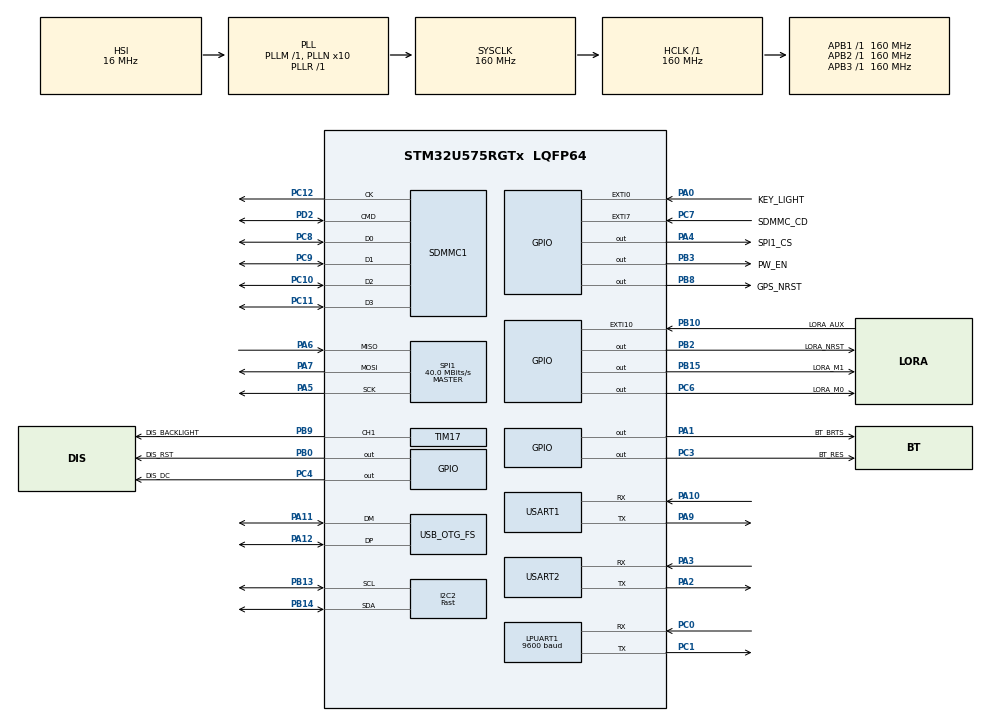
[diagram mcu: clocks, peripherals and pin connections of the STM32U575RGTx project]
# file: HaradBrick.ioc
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CORTEX_M33_NS.userName=CORTEX_M33
GPDMA1.DESTINC_GPDMACH0=DMA_DINC_INCREMENTED
GPDMA1.DIRECTION_GPDMACH1=DMA_MEMORY_TO_PERIPH
GPDMA1.DIRECTION_GPDMACH2=DMA_MEMORY_TO_PERIPH
GPDMA1.IPHANDLE_GPDMACH0-SIMPLEREQUEST_GPDMACH0=__NULL
GPDMA1.IPHANDLE_GPDMACH1-SIMPLEREQUEST_GPDMACH1=__NULL
GPDMA1.IPHANDLE_GPDMACH2-SIMPLEREQUEST_GPDMACH2=__NULL
GPDMA1.REQUEST_GPDMACH0=GPDMA1_REQUEST_USART2_RX
GPDMA1.REQUEST_GPDMACH1=GPDMA1_REQUEST_USART2_TX
GPDMA1.REQUEST_GPDMACH2=GPDMA1_REQUEST_SPI1_TX
GPDMA1.SRCINC_GPDMACH1=DMA_SINC_INCREMENTED
GPDMA1.SRCINC_GPDMACH2=DMA_SINC_INCREMENTED
I2C2.I2C_Speed_Mode=I2C_Fast
I2C2.Timing=0x00F07BFF
LPUART1.BaudRate=9600
Mcu.Family=STM32U5
Mcu.Name=STM32U575RGTx
Mcu.Package=LQFP64
NVIC.EXTI0_IRQn=true\:5\:0\:true\:false\:true\:true\:true\:true
NVIC.EXTI10_IRQn=true\:5\:0\:true\:false\:true\:true\:true\:true
NVIC.EXTI7_IRQn=true\:10\:0\:true\:false\:true\:true\:true\:true
NVIC.GPDMA1_Channel0_IRQn=true\:0\:0\:false\:false\:true\:true\:true\:true
NVIC.GPDMA1_Channel1_IRQn=true\:0\:0\:false\:false\:true\:false\:true\:true
NVIC.GPDMA1_Channel2_IRQn=true\:10\:0\:true\:false\:true\:false\:true\:true
NVIC.LPUART1_IRQn=true\:5\:0\:true\:false\:true\:true\:true\:true
NVIC.OTG_FS_IRQn=true\:5\:0\:true\:false\:true\:true\:true\:true
NVIC.PriorityGroup=NVIC_PRIORITYGROUP_4
NVIC.SDMMC1_IRQn=true\:6\:0\:true\:false\:true\:true\:true\:true
NVIC.SPI1_IRQn=true\:10\:0\:true\:false\:true\:false\:true\:true
NVIC.TIM6_IRQn=true\:15\:0\:false\:false\:true\:false\:true\:true
NVIC.TimeBase=TIM6_IRQn
NVIC.TimeBaseIP=TIM6
NVIC.USART1_IRQn=true\:10\:0\:true\:false\:true\:true\:true\:true
NVIC.USART2_IRQn=true\:10\:0\:true\:false\:true\:true\:true\:true
PA0.GPIO_Label=KEY_LIGHT
PA0.GPIO_PuPd=GPIO_PULLDOWN
PA0.Signal=GPXTI0
PA1.GPIO_Label=BT_BRTS
PA1.Signal=GPIO_Output
PA10.Mode=Asynchronous
PA10.Signal=USART1_RX
PA11.Mode=Device_Only
PA11.Signal=USB_OTG_FS_DM
PA12.Mode=Device_Only
PA12.Signal=USB_OTG_FS_DP
PA13\ (JTMS/SWDIO).Mode=Serial_Wire
PA13\ (JTMS/SWDIO).Signal=DEBUG_JTMS-SWDIO
PA14\ (JTCK/SWCLK).Mode=Serial_Wire
PA14\ (JTCK/SWCLK).Signal=DEBUG_JTCK-SWCLK
PA2.Mode=Asynchronous
PA2.Signal=USART2_TX
PA3.Mode=Asynchronous
PA3.Signal=USART2_RX
PA4.GPIO_Label=SPI1_CS
PA4.GPIO_Speed=GPIO_SPEED_FREQ_HIGH
PA4.PinState=GPIO_PIN_SET
PA4.Signal=GPIO_Output
PA5.GPIO_Speed=GPIO_SPEED_FREQ_HIGH
PA5.Mode=Full_Duplex_Master
PA5.Signal=SPI1_SCK
PA6.GPIO_Speed=GPIO_SPEED_FREQ_HIGH
PA6.Mode=Full_Duplex_Master
PA6.Signal=SPI1_MISO
PA7.GPIO_Speed=GPIO_SPEED_FREQ_HIGH
PA7.Mode=Full_Duplex_Master
PA7.Signal=SPI1_MOSI
PA9.Mode=Asynchronous
PA9.Signal=USART1_TX
PB0.GPIO_Label=DIS_RST
PB0.Signal=GPIO_Output
PB10.GPIO_Label=LORA_AUX
PB10.GPIO_ModeDefaultEXTI=GPIO_MODE_IT_RISING_FALLING
PB10.Signal=GPXTI10
PB13.Mode=I2C
PB13.Signal=I2C2_SCL
PB14.Mode=I2C
PB14.Signal=I2C2_SDA
PB15.GPIO_Label=LORA_M1
PB15.Signal=GPIO_Output
PB2.GPIO_Label=LORA_NRST
PB2.Signal=GPIO_Output
PB3\ (JTDO/TRACESWO).GPIO_Label=PW_EN
PB3\ (JTDO/TRACESWO).GPIO_PuPd=GPIO_PULLUP
PB3\ (JTDO/TRACESWO).Signal=GPIO_Output
PB8.GPIO_Label=GPS_NRST
PB8.GPIO_PuPd=GPIO_PULLUP
PB8.Signal=GPIO_Output
PB9.GPIO_Label=DIS_BACKLIGHT
PB9.Signal=S_TIM17_CH1
PC0.Mode=Asynchronous
PC0.Signal=LPUART1_RX
PC1.Mode=Asynchronous
PC1.Signal=LPUART1_TX
PC10.Mode=SD_4_bits_Wide_bus
PC10.Signal=SDMMC1_D2
PC11.Mode=SD_4_bits_Wide_bus
PC11.Signal=SDMMC1_D3
PC12.Mode=SD_4_bits_Wide_bus
PC12.Signal=SDMMC1_CK
PC14-OSC32_IN\ (PC14).Mode=LSE-External-Oscillator
PC14-OSC32_IN\ (PC14).Signal=RCC_OSC32_IN
PC15-OSC32_OUT\ (PC15).Mode=LSE-External-Oscillator
PC15-OSC32_OUT\ (PC15).Signal=RCC_OSC32_OUT
PC3.GPIO_Label=BT_RES
PC3.GPIO_PuPd=GPIO_PULLUP
PC3.PinState=GPIO_PIN_RESET
PC3.Signal=GPIO_Output
PC4.GPIO_Label=DIS_DC
PC4.GPIO_Speed=GPIO_SPEED_FREQ_HIGH
PC4.Signal=GPIO_Output
PC6.GPIO_Label=LORA_M0
PC6.Signal=GPIO_Output
PC7.GPIO_Label=SDMMC_CD
PC7.GPIO_ModeDefaultEXTI=GPIO_MODE_IT_RISING_FALLING
PC7.GPIO_PuPd=GPIO_PULLUP
PC7.Signal=GPXTI7
PC8.Mode=SD_4_bits_Wide_bus
PC8.Signal=SDMMC1_D0
PC9.Mode=SD_4_bits_Wide_bus
PC9.Signal=SDMMC1_D1
PD2.Mode=SD_4_bits_Wide_bus
PD2.Signal=SDMMC1_CMD
ProjectManager.HeapSize=0x200
ProjectManager.StackSize=0x400
ProjectManager.TargetToolchain=CMake
RCC.ADCFreq_Value=16000000
RCC.AHBFreq_Value=160000000
RCC.APB1Freq_Value=160000000
RCC.APB1TimFreq_Value=160000000
RCC.APB2Freq_Value=160000000
RCC.APB2TimFreq_Value=160000000
RCC.APB3Freq_Value=160000000
RCC.CortexFreq_Value=160000000
RCC.EPOD_VALUE=16000000
RCC.HCLKFreq_Value=160000000
RCC.HSE_VALUE=16000000
RCC.HSI48_VALUE=48000000
RCC.HSI_VALUE=16000000
RCC.LPUART1CLockSelectionVirtual=RCC_LPUART1CLKSOURCE_LSE
RCC.LSIDIV_VALUE=32000
RCC.MSI_VALUE=4000000
RCC.PLL1R=1
RCC.PLLN=10
RCC.PLLSourceVirtual=RCC_PLLSOURCE_HSI
RCC.SPI1CLockSelection=RCC_SPI1CLKSOURCE_PCLK2
RCC.SYSCLKFreq_VALUE=160000000
RCC.SYSCLKSource=RCC_SYSCLKSOURCE_PLLCLK
RCC.USBFreq_Value=48000000
RCC.VCOOutputFreq_Value=160000000
SDMMC1.ClockDiv=2
SH.S_TIM17_CH1.0=TIM17_CH1,PWM Generation1 CH1
SPI1.BaudRatePrescaler=SPI_BAUDRATEPRESCALER_4
SPI1.CalculateBaudRate=40.0 MBits/s
SPI1.DataSize=SPI_DATASIZE_8BIT
SPI1.Direction=SPI_DIRECTION_2LINES
SPI1.MasterKeepIOState=SPI_MASTER_KEEP_IO_STATE_ENABLE
SPI1.Mode=SPI_MODE_MASTER
SPI1.VirtualType=VM_MASTER
TIM17.Channel=TIM_CHANNEL_1
TIM17.PeriodNoDither=1000-1
TIM17.Prescaler=16-1
USART1.VirtualMode-Asynchronous=VM_ASYNC
USART2.VirtualMode-Asynchronous=VM_ASYNC
USB_OTG_FS.VirtualMode=Device_Only
VP_DCACHE1_VS_DCACHE.Mode=DCACHE_Activate
VP_GPDMA1_VS_GPDMACH0.Mode=SIMPLEREQUEST_GPDMACH0
VP_GPDMA1_VS_GPDMACH1.Mode=SIMPLEREQUEST_GPDMACH1
VP_GPDMA1_VS_GPDMACH2.Mode=SIMPLEREQUEST_GPDMACH2
VP_ICACHE_VS_ICACHE.Mode=DefaultMode
VP_LPBAMQUEUE_VS_QUEUE.Mode=QUEUEMODE
VP_LPBAM_VS_SIG1.Mode=SmartRun
VP_LPBAM_VS_SIG4.Mode=LPDMA1
VP_MEMORYMAP_VS_MEMORYMAP.Mode=CurAppReg
VP_PWR_VS_SECSignals.Mode=Security/Privilege
VP_SYS_VS_tim6.Mode=TIM6
VP_TIM17_VS_ClockSourceINT.Mode=Enable_Timer
board=custom

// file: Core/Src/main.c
/* USER CODE BEGIN Header */
/**
  ******************************************************************************
  * @file           : main.c
  * @brief          : Main program body
  ******************************************************************************
  * @attention
  *
  * Copyright (c) 2026 STMicroelectronics.
  * All rights reserved.
  *
  * This software is licensed under terms that can be found in the LICENSE file
  * in the root directory of this software component.
  * If no LICENSE file comes with this software, it is provided AS-IS.
  *
  ******************************************************************************
  */
/* USER CODE END Header */
#include "main.h"
#include "dcache.h"
#include "gpdma.h"
#include "i2c.h"
#include "icache.h"
#include "usart.h"
#include "sdmmc.h"
#include "spi.h"
#include "tim.h"
#include "usb_otg.h"
#include "gpio.h"

/* USER CODE BEGIN Includes */
#include "SEGGER_RTT.h"
#include "tx_api.h"
#include "LC760Z.h"
#include "gps.h"
#include "ili9341.h"
#include "display.h"
#include "backlight.h"
#include "backlight_app.h"
#include "sdcard.h"
#include "storage.h"
#include "usb_msc.h"
#include "e22.h"
#include "e22_port.h"
#include "qmc5883p.h"
#include "compass.h"
#include "mx01p.h"
#include "mx01p_port.h"
/* USER CODE END Includes */

/* USER CODE BEGIN PV */
TX_THREAD my_thread;
/* 线程栈：静态分配放 .bss，由链接器核算总量（溢出在链接期报错）；Cortex-M 栈需 8 字节对齐 */
static uint8_t my_thread_stack[1024] __attribute__((aligned(8)));

/* LoRa（E22-400T22S）：接收环形缓冲必须是 2 的幂，满时驱动丢弃新数据 */
static uint8_t g_lora_rx_ring[1024];
static e22_t   g_lora;

/* 蓝牙（MX-01P）：环形缓冲容量必须是 2 的幂，满时驱动丢弃新数据。
   g_bt_probe 故意做成全局（非 static）：J-Link 可以按符号直接读自检结果，
   不依赖 RTT 是否在连。 */
static uint8_t g_bt_rx_ring[1024];
static mx01p_t g_bt;
mx01p_probe_t  g_bt_probe;
/* USER CODE END PV */

void SystemClock_Config(void);

/* USER CODE BEGIN 0 */

/**
 * @brief first threadx test thread
 */
void my_thread_entry(ULONG thread_input){
  /* Enter into a forever loop. */
  while(1)
  {
    /* Increment thread counter. */
    // SEGGER_RTT_WriteString(0, "threadx working\r\n");
    /* Sleep for 1 second. */
    tx_thread_sleep(100);
  }
}

/* ---- LoRa(E22-400T22S) 上电自检：打印模块型号/固件/参数，便于上板确认 ---- */

static const char *lora_baud_str(e22_uart_baud_t baud)
{
  switch (baud) {
  case E22_UART_BAUD_1200:   return "1200";
  case E22_UART_BAUD_2400:   return "2400";
  case E22_UART_BAUD_4800:   return "4800";
  case E22_UART_BAUD_9600:   return "9600";
  case E22_UART_BAUD_19200:  return "19200";
  case E22_UART_BAUD_38400:  return "38400";
  case E22_UART_BAUD_57600:  return "57600";
  case E22_UART_BAUD_115200: return "115200";
  default:                   return "?";
  }
}

static const char *lora_parity_str(e22_uart_parity_t parity)
{
  switch (parity) {
  case E22_UART_PARITY_8N1: return "8N1";
  case E22_UART_PARITY_8O1: return "8O1";
  case E22_UART_PARITY_8E1: return "8E1";
  default:                  return "?";
  }
}

static uint32_t lora_air_bps(e22_air_rate_t rate)
{
  switch (rate) {
  case E22_AIR_RATE_4K8:  return 4800u;
  case E22_AIR_RATE_9K6:  return 9600u;
  case E22_AIR_RATE_19K2: return 19200u;
  case E22_AIR_RATE_38K4: return 38400u;
  case E22_AIR_RATE_62K5: return 62500u;
  case E22_AIR_RATE_2K4:
  default:                return 2400u;
  }
}

static uint8_t lora_power_dbm(e22_tx_power_t power)
{
  static const uint8_t table[4] = {22u, 17u, 14u, 10u};

  return table[(unsigned)power & 0x03u];
}

static void lora_selftest(void)
{
  static const uint16_t packet_bytes[4] = {240u, 128u, 64u, 32u};
  e22_cfg_t cfg = {
    .rx_ring = g_lora_rx_ring,
    .rx_ring_size = (uint16_t)sizeof(g_lora_rx_ring),
    .aux_cb = NULL,
    .user = NULL,
  };
  e22_params_t params;
  uint8_t pid[E22_PID_LEN];
  char type[24];
  char fw[24];
  e22_status_t st;

  st = e22_init(&g_lora, &cfg);
  if (st != E22_OK) {
    SEGGER_RTT_printf(0, "[LORA] init failed: st=%d aux_busy=%u\r\n",
                      (int)st, (unsigned)e22_is_busy(&g_lora));
    return;
  }
  SEGGER_RTT_WriteString(0, "[LORA] init ok\r\n");

  if (e22_at_query(&g_lora, "AT+DEVTYPE=?", "DEVTYPE=", type, sizeof(type), 300u) != E22_OK) {
    type[0] = '?';
    type[1] = '\0';
  }
  if (e22_at_query(&g_lora, "AT+FWCODE=?", "FWCODE=", fw, sizeof(fw), 300u) != E22_OK) {
    fw[0] = '?';
    fw[1] = '\0';
  }
  SEGGER_RTT_printf(0, "[LORA] type=%s fw=%s\r\n", type, fw);

  if (e22_read_pid(&g_lora, pid) == E22_OK) {
    SEGGER_RTT_printf(0, "[LORA] pid=%02X%02X%02X%02X%02X%02X%02X\r\n",
                      pid[0], pid[1], pid[2], pid[3], pid[4], pid[5], pid[6]);
  }

  if (e22_read_params(&g_lora, &params) == E22_OK) {
    SEGGER_RTT_printf(0, "[LORA] addr=0x%04X netid=%u ch=%u (%u.125MHz) air=%u bps\r\n",
                      (unsigned)params.address, (unsigned)params.netid,
                      (unsigned)params.channel, (unsigned)(410u + params.channel),
                      (unsigned)lora_air_bps(params.air_rate));
    SEGGER_RTT_printf(0, "[LORA] uart=%s %s pkt=%u B pwr=%u dBm fixed=%u lbt=%u relay=%u\r\n",
                      lora_baud_str(params.uart_baud),
                      lora_parity_str(params.uart_parity),
                      (unsigned)packet_bytes[(unsigned)params.packet_len & 0x03u],
                      (unsigned)lora_power_dbm(params.tx_power),
                      (unsigned)params.fixed_tx, (unsigned)params.lbt,
                      (unsigned)params.relay);
    SEGGER_RTT_printf(0, "[LORA] wor_role=%u period=%u ms rssi_env=%u rssi_byte=%u soft=%u\r\n",
                      (unsigned)params.wor_role,
                      (unsigned)(((unsigned)params.wor_period + 1u) * 500u),
                      (unsigned)params.rssi_env, (unsigned)params.rssi_byte,
                      (unsigned)params.soft_mode);
  } else {
    SEGGER_RTT_WriteString(0, "[LORA] read params failed\r\n");
  }
}

/* ---- 蓝牙（MX-01P）上电自检：诊断量全部落进 g_bt_probe，RTT 只是其中一份拷贝 ---- */
static void bt_selftest(void)
{
  /* 手册里 AT+UART=NUM 的码值顺序，下标即码值 */
  static const char *const baud_code_name[9] = {
    "9600",  "14400", "19200",  "38400",  "57600",
    "115200", "230400", "460800", "921600",
  };
  mx01p_cfg_t cfg = {
    .rx_ring = g_bt_rx_ring,
    .rx_ring_size = (uint16_t)sizeof(g_bt_rx_ring),
    .evt_cb = NULL,
    .user = NULL,
    .ready_timeout_ms = 0u, /* 0 = 用驱动默认的 3000 ms */
  };
  const mx01p_probe_t *p = &g_bt_probe;
  const char *baud_name;
  bool ok;

  ok = mx01p_probe(&g_bt, &cfg, &g_bt_probe);

  baud_name = ((unsigned)p->baud_code < 9u) ? baud_code_name[(unsigned)p->baud_code]
                                            : "?";

  SEGGER_RTT_printf(0, "[BT] probe=%u stage=%u init=%d ready=%u ms retry=%u\r\n",
                    (unsigned)ok, (unsigned)p->stage, (int)p->init_st,
                    (unsigned)p->ready_ms, (unsigned)p->reset_retry);
  if (p->init_st != 0) {
    /* 超时基本只有三种原因：模块没供电、RES 没释放、串口波特率不匹配 */
    SEGGER_RTT_WriteString(0, "[BT] init failed: check VCC/RES/USART1 115200\r\n");
    SEGGER_RTT_printf(0, "[BT] rx_dropped=%u resp_overrun=%u\r\n",
                      (unsigned)p->rx_dropped, (unsigned)p->resp_overrun);
    return;
  }

  SEGGER_RTT_printf(0, "[BT] mac=%s(%d) name=%s(%d)\r\n", p->mac,
                    (int)p->mac_st, p->name, (int)p->name_st);
  SEGGER_RTT_printf(0, "[BT] ver=%s(%d)\r\n", p->version, (int)p->version_st);
  SEGGER_RTT_printf(0, "[BT] uart=%s code=%d(%d) adv=%d(%d) aintvl=%d ms(%d)\r\n",
                    baud_name, (int)p->baud_code, (int)p->baud_st, (int)p->adv_on,
                    (int)p->adv_st, (int)p->interval_ms, (int)p->interval_st);
  SEGGER_RTT_printf(0, "[BT] txpower_code=%d(%d)\r\n", (int)p->power_code,
                    (int)p->power_st);
  SEGGER_RTT_printf(0, "[BT] uuid s=%s n=%s w=%s (%d)\r\n", p->uuid_service,
                    p->uuid_notify, p->uuid_write, (int)p->uuid_st);
  SEGGER_RTT_printf(0, "[BT] sleep st=%d blocked=%d wake=%d\r\n", (int)p->sleep_st,
                    (int)p->sleep_blocked, (int)p->wake_st);
  SEGGER_RTT_printf(0, "[BT] loop_st=%d len=%u text=%s\r\n", (int)p->loop_st,
                    (unsigned)p->loop_len, p->loopback);
  SEGGER_RTT_printf(0, "[BT] reboot_st=%d\r\n", (int)p->reboot_st);
  SEGGER_RTT_printf(0, "[BT] link_st=%d connected=%u dev_mac=%s\r\n",
                    (int)p->link_st, (unsigned)mx01p_is_connected(&g_bt),
                    mx01p_is_connected(&g_bt) ? "see J-Link" : "-");
  SEGGER_RTT_printf(0, "[BT] at=%u fail=%u drop=%u overrun=%u\r\n",
                    (unsigned)p->at_total, (unsigned)p->at_fail,
                    (unsigned)p->rx_dropped, (unsigned)p->resp_overrun);
}

void tx_application_define(void *first_unused_memory){
  /* 任务栈为静态数组（见 PV 区），此处只传入指针与大小 */
  (void)first_unused_memory;

  /* 屏幕 SPI 发送切 DMA：在这里创建完成信号量（ili9341_init() 已在内核启动前跑完，
     那一段仍是轮询）。未配置 SPI1_TX DMA 时返回 false，发送保持轮询 */
  if (ili9341_rtos_attach()) {
    SEGGER_RTT_WriteString(0, "[LCD] SPI DMA enabled\r\n");
  } else {
    SEGGER_RTT_WriteString(0, "[LCD] SPI DMA unavailable, polling mode\r\n");
  }

  tx_thread_create(&my_thread, "test thread",
                    my_thread_entry, 0x1234, my_thread_stack, sizeof(my_thread_stack),
                    3, 3, TX_NO_TIME_SLICE, TX_AUTO_START);

  /* GPS 应用层：创建解析线程与事件组（ISR 侧入口为 gps_rx_push） */
  gps_init();

  /* 显示应用层：快照读取在 gps_init 之后，线程优先级低于 GPS */
  display_init();

  /* 屏幕背光：KEY_LIGHT 上升沿点亮 3 s */
  backlight_app_init();

  /* USB 设备（MSC）：必须早于 storage_init——storage 要用这里的媒体互斥量串行化
     对 TF 卡的访问，而 PC 枚举后 usb_msc 会置位"主机占用"标志把 storage 挡在外面 */
  usb_msc_init();

  /* 存储应用层：挂载 FAT 卷并做一次读写自检。
     必须在内核启动后——FatFs 的卷互斥量是 ThreadX 对象 */
  storage_init();

  /* 地磁罗盘：25 Hz 采集线程（优先级最低）。传感器已在 compass_hw_init() 里配好 */
  compass_init();
}
/* USER CODE END 0 */

int main(void)
{

  /* MCU Configuration--------------------------------------------------------*/

  /* Reset of all peripherals, Initializes the Flash interface and the Systick. */
  HAL_Init();

  /* Configure the system clock */
  SystemClock_Config();

  /* Initialize all configured peripherals */
  MX_GPIO_Init();
  MX_GPDMA1_Init();
  MX_USART2_UART_Init();
  MX_ICACHE_Init();
  MX_DCACHE1_Init();
  MX_SPI1_Init();
  MX_TIM17_Init();
  MX_SDMMC1_SD_Init();
  MX_USB_OTG_FS_PCD_Init();
  MX_LPUART1_UART_Init();
  MX_I2C2_Init();
  MX_USART1_UART_Init();
  /* USER CODE BEGIN 2 */
  /* 模拟 USB 拔出：OTG 软断开（DCTL.SDIS=1）并把 D+ (PA12) 拉成 GPIO 输出低，
     主机立刻判定设备已拔出。等 USBX 设备栈就绪后由 usb_msc 线程把 D+ 交还给
     OTG 并打开内部上拉，主机看到一次干净的插入并重新枚举——这样每次软件复位
     （含调试器复位）都不需要手动拔插 USB 线。
     必须放在 MX_USB_OTG_FS_PCD_Init() 之后：HAL_PCD_Stop() 需要有效的 PCD 句柄 */
  usb_msc_boot_detach();

  /* 背光 PWM 先以 0% 启动：电源打开后引脚就是确定的低电平，不会闪一下 */
  bool backlight_ready = backlight_init();

  // 启动电源
  HAL_Delay(100);
  HAL_GPIO_WritePin(PW_EN_GPIO_Port, PW_EN_Pin, GPIO_PIN_SET);
  HAL_Delay(100);
  // RTT初始化输出
  SEGGER_RTT_Init();
  SEGGER_RTT_WriteString(0, "System Boot OK\r\n");

  /* TF 卡硬件自检（只读）：十几毫秒级，结果同时留在 g_sd_probe 里给 J-Link 看 */
  sdcard_probe();
  {
    char label[12];

    for (uint32_t i = 0u; i < 11u; i++) {
      label[i] = (char)g_sd_probe.label[i];
    }
    label[11] = '\0';

    SEGGER_RTT_printf(0, "[SD] stage=%u cd=%u type=%u ver=%u rca=%u err=0x%08x\r\n",
                      (unsigned)g_sd_probe.stage, (unsigned)g_sd_probe.cd_pin,
                      (unsigned)g_sd_probe.card_type, (unsigned)g_sd_probe.card_version,
                      (unsigned)g_sd_probe.rca, (unsigned)g_sd_probe.hal_error);
    if (g_sd_probe.stage >= (uint32_t)SDCARD_STAGE_MBR_OK) {
      SEGGER_RTT_printf(0, "[SD] %u x %u B, mbr=%u part=0x%02x lba=%u fat32=%u\r\n",
                        (unsigned)g_sd_probe.block_nbr, (unsigned)g_sd_probe.block_size,
                        (unsigned)g_sd_probe.mbr_sig_ok, (unsigned)g_sd_probe.part_type,
                        (unsigned)g_sd_probe.part_lba, (unsigned)g_sd_probe.fat32_ok);
    }
    if (g_sd_probe.stage >= (uint32_t)SDCARD_STAGE_BS_OK) {
      SEGGER_RTT_printf(0, "[SD] bps=%u spc=%u rsv=%u fats=%u fatsz=%u label=%s\r\n",
                        (unsigned)g_sd_probe.bytes_per_sector,
                        (unsigned)g_sd_probe.sectors_per_cluster,
                        (unsigned)g_sd_probe.reserved_sectors,
                        (unsigned)g_sd_probe.num_fats, (unsigned)g_sd_probe.fat_size,
                        label);
    }
  }
  if (!backlight_ready) {
    SEGGER_RTT_WriteString(0, "[BL] PWM init failed\r\n");
  }
  // 屏幕初始化（约 1.3 s：复位 + 软复位 + 退出睡眠）；此时 GPS 仍按住复位，不丢数据
  if (!ili9341_init()) {
    SEGGER_RTT_WriteString(0, "[LCD] init failed\r\n");
  }
  // LC760Z初始化
  LC760Z_init();
  // LoRa(E22-400T22S)初始化 + 上电自检（型号/固件/参数打印到 RTT）
  lora_selftest();

  /* 蓝牙 MX-01P 上电自检：硬复位等 +READY → 一轮 AT 查询 → 睡眠脚验证。
     结果同时留在 g_bt_probe 里，J-Link 可以直接按符号读，不依赖 RTT 是否在看 */
  bt_selftest();

  /* 地磁 QMC5883P 上电自检：地址 → CHIPID → 16 个样本 → Set/Reset 内部自检。
     结果同时留在 g_qmc_probe 里，J-Link 可以直接读，不依赖 RTT 是否在看 */
  qmc5883p_probe();
  SEGGER_RTT_printf(0, "[MAG] stage=%u id=0x%02x n=%u err=%u stat=0x%02x\r\n",
                    (unsigned)g_qmc_probe.stage, (unsigned)g_qmc_probe.chip_id,
                    (unsigned)g_qmc_probe.samples, (unsigned)g_qmc_probe.errors,
                    (unsigned)g_qmc_probe.status);
  SEGGER_RTT_printf(0, "[MAG] last x=%d y=%d z=%d  min/max x=%d..%d y=%d..%d z=%d..%d\r\n",
                    (int)g_qmc_probe.x_last, (int)g_qmc_probe.y_last,
                    (int)g_qmc_probe.z_last, (int)g_qmc_probe.x_min,
                    (int)g_qmc_probe.x_max, (int)g_qmc_probe.y_min,
                    (int)g_qmc_probe.y_max, (int)g_qmc_probe.z_min,
                    (int)g_qmc_probe.z_max);
  SEGGER_RTT_printf(0, "[MAG] ctrl=0x%02x/0x%02x self=%d/%d/%d mg=%d\r\n",
                    (unsigned)g_qmc_probe.reg_ctrl1,
                    (unsigned)g_qmc_probe.reg_ctrl2,
                    (int)g_qmc_probe.st_dx, (int)g_qmc_probe.st_dy,
                    (int)g_qmc_probe.st_dz, (int)g_qmc_probe.last_mg_l1);

  /* 罗盘应用层：按 25 Hz 采集的要求重配传感器（ODR 100 Hz / ±8 G）。
     自检那一次用的是 200 Hz 临时配置，这里以应用配置为准 */
  compass_hw_init();

  // start threadx kernel
  tx_kernel_enter();
  /* USER CODE END 2 */

  /* Infinite loop */
  while (1)
  {

  }
}

void SystemClock_Config(void)
{
  RCC_OscInitTypeDef RCC_OscInitStruct = {0};
  RCC_ClkInitTypeDef RCC_ClkInitStruct = {0};

  /** Configure the main internal regulator output voltage
  */
  if (HAL_PWREx_ControlVoltageScaling(PWR_REGULATOR_VOLTAGE_SCALE1) != HAL_OK)
  {
    Error_Handler();
  }

  /** Configure LSE Drive Capability
  */
  HAL_PWR_EnableBkUpAccess();
  __HAL_RCC_LSEDRIVE_CONFIG(RCC_LSEDRIVE_LOW);

  /** Initializes the CPU, AHB and APB buses clocks
  */
  RCC_OscInitStruct.OscillatorType = RCC_OSCILLATORTYPE_HSI48|RCC_OSCILLATORTYPE_HSI
                              |RCC_OSCILLATORTYPE_LSE;
  RCC_OscInitStruct.LSEState = RCC_LSE_ON;
  RCC_OscInitStruct.HSIState = RCC_HSI_ON;
  RCC_OscInitStruct.HSI48State = RCC_HSI48_ON;
  RCC_OscInitStruct.HSICalibrationValue = RCC_HSICALIBRATION_DEFAULT;
  RCC_OscInitStruct.PLL.PLLState = RCC_PLL_ON;
  RCC_OscInitStruct.PLL.PLLSource = RCC_PLLSOURCE_HSI;
  RCC_OscInitStruct.PLL.PLLMBOOST = RCC_PLLMBOOST_DIV1;
  RCC_OscInitStruct.PLL.PLLM = 1;
  RCC_OscInitStruct.PLL.PLLN = 10;
  RCC_OscInitStruct.PLL.PLLP = 2;
  RCC_OscInitStruct.PLL.PLLQ = 2;
  RCC_OscInitStruct.PLL.PLLR = 1;
  RCC_OscInitStruct.PLL.PLLRGE = RCC_PLLVCIRANGE_1;
  RCC_OscInitStruct.PLL.PLLFRACN = 0;
  if (HAL_RCC_OscConfig(&RCC_OscInitStruct) != HAL_OK)
  {
    Error_Handler();
  }

  /** Initializes the CPU, AHB and APB buses clocks
  */
  RCC_ClkInitStruct.ClockType = RCC_CLOCKTYPE_HCLK|RCC_CLOCKTYPE_SYSCLK
                              |RCC_CLOCKTYPE_PCLK1|RCC_CLOCKTYPE_PCLK2
                              |RCC_CLOCKTYPE_PCLK3;
  RCC_ClkInitStruct.SYSCLKSource = RCC_SYSCLKSOURCE_PLLCLK;
  RCC_ClkInitStruct.AHBCLKDivider = RCC_SYSCLK_DIV1;
  RCC_ClkInitStruct.APB1CLKDivider = RCC_HCLK_DIV1;
  RCC_ClkInitStruct.APB2CLKDivider = RCC_HCLK_DIV1;
  RCC_ClkInitStruct.APB3CLKDivider = RCC_HCLK_DIV1;

  if (HAL_RCC_ClockConfig(&RCC_ClkInitStruct, FLASH_LATENCY_4) != HAL_OK)
  {
    Error_Handler();
  }
}

/* USER CODE BEGIN 4 */
void HAL_GPIO_EXTI_Rising_Callback(uint16_t GPIO_Pin){
  if(GPIO_Pin == KEY_LIGHT_Pin){
    /* ISR 只发事件：点亮与 3 s 计时都在 backlight 线程里做 */
    backlight_app_button_isr();
  }
  else if(GPIO_Pin == LORA_AUX_Pin){
    /* AUX 上升沿 = 模块回到空闲 */
    e22_port_aux_isr();
  }
}

void HAL_GPIO_EXTI_Falling_Callback(uint16_t GPIO_Pin){
  if(GPIO_Pin == LORA_AUX_Pin){
    /* AUX 下降沿 = 模块开始忙（收包前 / 发包 / 切模式） */
    e22_port_aux_isr();
  }
}

void HAL_UARTEx_RxEventCallback(UART_HandleTypeDef *huart, uint16_t Size){
  if(huart->Instance == USART2){
    /* 半传输事件：既不是完整帧，也不能 rearm，直接忽略，等 IDLE / TC */
    if(HAL_UARTEx_GetRxEventType(huart) == HAL_UART_RXEVENT_HT){
      return;
    }
    /* ISR 只搬运：Size 是本次 burst 的有效字节数（DMA_NORMAL 下 HAL 已 abort DMA
       并置 RxState=READY，所以紧接着 rearm 是合法的）。不能用整个缓冲当字符串，
       否则会把上一帧更长的残留一起读进来；解析与打印都在 gps 线程里做 */
    gps_rx_push(LC760Z_rx_data, Size);
    LC760Z_uart_start_receive();
  }
  else if(huart->Instance == LPUART1){
    /* ISR 只把本次 burst 拷进 LoRa 环形缓冲并 rearm */
    if(HAL_UARTEx_GetRxEventType(huart) == HAL_UART_RXEVENT_HT){
      return;
    }
    e22_port_rx_event(Size);
  }
  else if(huart->Instance == USART1){
    /* 蓝牙：ISR 里只做分流（控制行 → 应答邮箱/事件，数据 → 环形缓冲）并 rearm */
    if(HAL_UARTEx_GetRxEventType(huart) == HAL_UART_RXEVENT_HT){
      return;
    }
    mx01p_port_rx_event(Size);
  }
}

void HAL_UART_ErrorCallback(UART_HandleTypeDef *huart){
  if(huart->Instance == USART2){
    /* TODO: 如果重启接收失败将永远关闭接收，待后续完善 */
    LC760Z_uart_start_receive();
  }
  else if(huart->Instance == LPUART1){
    /* ORE/帧错误：复位接收并 rearm，最多毁掉当前一包 */
    e22_port_uart_error();
  }
  else if(huart->Instance == USART1){
    /* 蓝牙同理：复位接收并 rearm，不 panic、不打印 */
    mx01p_port_uart_error();
  }
}
/* USER CODE END 4 */

void HAL_TIM_PeriodElapsedCallback(TIM_HandleTypeDef *htim)
{
  if (htim->Instance == TIM6)
  {
    HAL_IncTick();
  }
}

void Error_Handler(void)
{
  __disable_irq();
  while (1)
  {
  }
}
